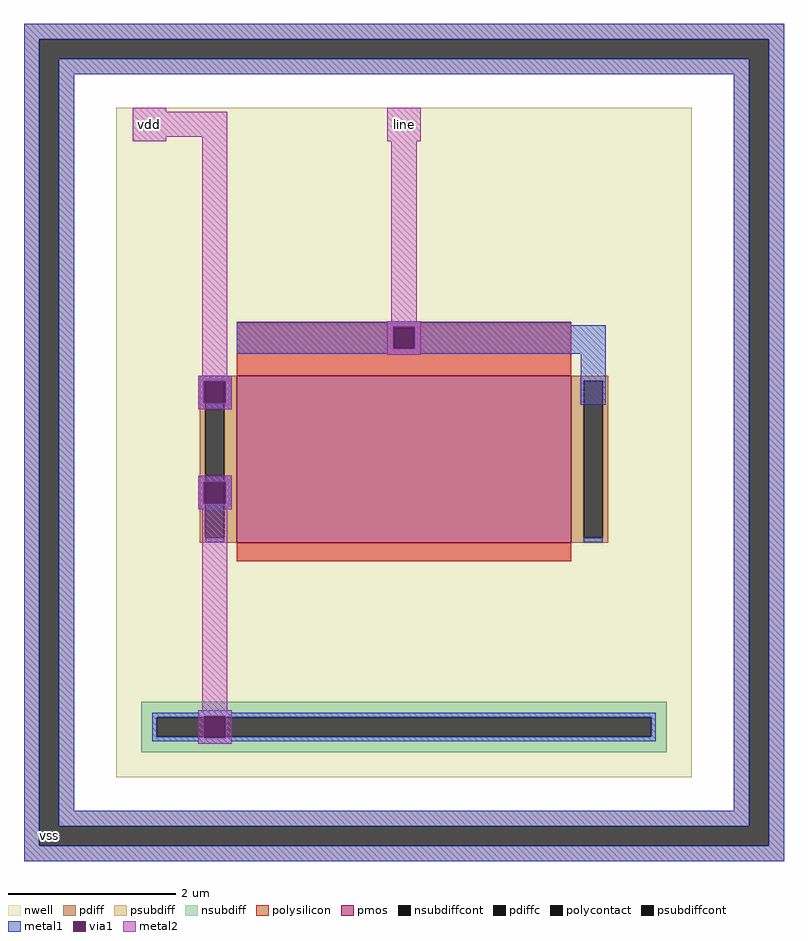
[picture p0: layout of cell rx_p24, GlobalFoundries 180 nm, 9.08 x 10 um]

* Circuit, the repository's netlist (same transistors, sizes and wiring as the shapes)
* NGSPICE file created from rx_p24.ext - technology: gf180mcuD

.subckt p_w2_l4 a_400_n200# a_n400_n244# w_n574_n330# a_n488_n200#
X0 a_400_n200# a_n400_n244# a_n488_n200# w_n574_n330# pfet_03v3 ad=0.88p pd=4.88u as=0.88p ps=4.88u w=2u l=4u
.ends

.subckt rx_p24 line vdd vss
XD line line vdd vdd p_w2_l4
.ends

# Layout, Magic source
magic
tech gf180mcuD
magscale 1 10
<< nwell >>
rect 220 200 1596 1800
<< psubdiff >>
rect 0 1963 1816 2000
rect 0 37 37 1963
rect 83 1880 1733 1917
rect 83 120 120 1880
rect 1696 120 1733 1880
rect 83 83 1733 120
rect 1779 37 1816 1963
rect 0 0 1816 37
<< nsubdiff >>
rect 280 343 1536 380
rect 280 297 317 343
rect 1499 297 1536 343
rect 280 260 1536 297
<< psubdiffcont >>
rect 37 1917 1779 1963
rect 37 83 83 1917
rect 1733 83 1779 1917
rect 37 37 1779 83
<< nsubdiffcont >>
rect 317 297 1499 343
<< polysilicon >>
rect 508 1273 1308 1286
rect 508 1227 885 1273
rect 931 1227 1308 1273
rect 508 1160 1308 1227
<< polycontact >>
rect 885 1227 931 1273
<< metal1 >>
rect 0 1963 1816 2000
rect 0 37 37 1963
rect 83 1880 1733 1917
rect 83 120 120 1880
rect 868 1288 948 1290
rect 508 1280 1308 1288
rect 508 1276 1390 1280
rect 508 1224 882 1276
rect 934 1224 1390 1276
rect 508 1212 1390 1224
rect 868 1210 948 1212
rect 416 1146 496 1160
rect 416 1094 430 1146
rect 482 1094 496 1146
rect 416 1080 496 1094
rect 1330 1090 1390 1212
rect 416 906 496 920
rect 416 854 430 906
rect 482 854 496 906
rect 416 840 496 854
rect 416 354 496 360
rect 306 346 1510 354
rect 306 343 430 346
rect 482 343 1510 346
rect 306 297 317 343
rect 1499 297 1510 343
rect 306 294 430 297
rect 482 294 1510 297
rect 306 286 1510 294
rect 416 280 496 286
rect 1696 120 1733 1880
rect 83 83 1733 120
rect 1779 37 1816 1963
rect 0 0 1816 37
<< via1 >>
rect 882 1273 934 1276
rect 882 1227 885 1273
rect 885 1227 931 1273
rect 931 1227 934 1273
rect 882 1224 934 1227
rect 430 1094 482 1146
rect 430 854 482 906
rect 430 343 482 346
rect 430 297 482 343
rect 430 294 482 297
<< metal2 >>
rect 260 1790 340 1800
rect 260 1730 486 1790
rect 260 1720 340 1730
rect 426 1160 486 1730
rect 868 1720 948 1800
rect 878 1290 938 1720
rect 868 1276 948 1290
rect 868 1224 882 1276
rect 934 1224 948 1276
rect 868 1210 948 1224
rect 416 1146 496 1160
rect 416 1094 430 1146
rect 482 1094 496 1146
rect 416 1080 496 1094
rect 416 906 496 920
rect 416 854 430 906
rect 482 854 496 906
rect 416 840 496 854
rect 426 360 486 840
rect 416 346 496 360
rect 416 294 430 346
rect 482 294 496 346
rect 416 280 496 294
use p_w2_l4  D devices
transform 1 0 908 0 1 960
box -574 -330 574 330
<< labels >>
flabel metal2 868 1720 948 1800 0 FreeSans 400 0 0 0 line
port 1 nsew signal bidirectional
flabel metal2 260 1720 340 1800 0 FreeSans 400 0 0 0 vdd
port 2 nsew power bidirectional
flabel metal1 20 20 100 100 0 FreeSans 400 0 0 0 vss
port 3 nsew ground bidirectional
<< end >>

# cell p_w2_l4: kit device pfet_03v3, w 2 l 4 m 1 nf 1 diffcov 100 polycov 100 guard 0 glc 1 grc 1 gtc 0 gbc 0 tbcov 100 rlcov 100 topc 0 botc 0 poverlap 0 doverlap 1 lmin 0.28 wmin 0.22 class mosfet full_metal 1 compatible {pfet_03v3 pfet_05v0 pfet_06v0}
